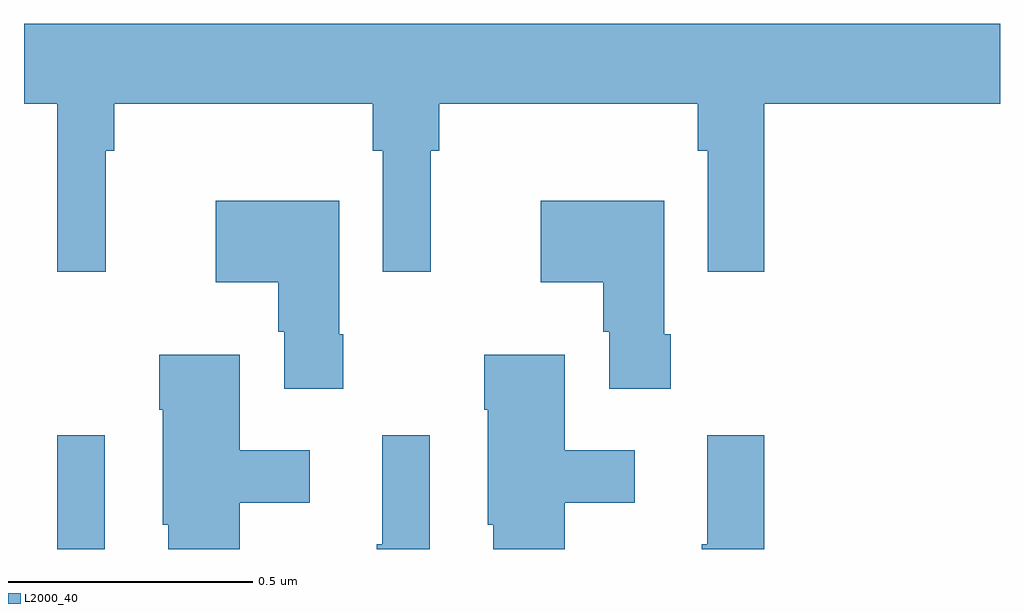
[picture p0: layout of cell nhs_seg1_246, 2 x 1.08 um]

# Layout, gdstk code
import gdstk
lib = gdstk.Library(unit=1e-6, precision=1e-09)
def R(c, l, rs):  # rectangles x0, y0, x1, y1
    for r in rs: c.add(gdstk.rectangle(r[:2], r[2:], *l))
def P(c, l, *ps):  # polygons
    for p in ps: c.add(gdstk.Polygon(p, *l))
L2000_40 = (2000, 40)

nhs_seg1_246 = lib.new_cell('nhs_seg1_246')
R(nhs_seg1_246, L2000_40, [(114.068,504.199,114.165,504.433)])
P(nhs_seg1_246, L2000_40, [(114.168,505.016),(114.185,505.016),(114.185,505.112),(114.715,505.112),(114.715,505.016),(114.735,505.016),(114.735,504.768),(114.834,504.768),(114.834,505.016),(114.851,505.016),(114.851,505.112),(115.381,505.112),(115.381,505.016),(115.401,505.016),(115.401,504.768),(115.517,504.768),(115.517,505.112),(116,505.112),(116,505.276),(114,505.276),(114,505.112),(114.068,505.112),(114.068,504.768),(114.168,504.768)],
  [(114.654,504.64),(114.646,504.64),(114.646,504.913),(114.393,504.913),(114.393,504.746),(114.521,504.746),(114.521,504.645),(114.533,504.645),(114.533,504.528),(114.654,504.528)],
  [(115.325,504.64),(115.312,504.64),(115.312,504.913),(115.059,504.913),(115.059,504.746),(115.187,504.746),(115.187,504.645),(115.199,504.645),(115.199,504.528),(115.325,504.528)],
  [(114.442,504.294),(114.586,504.294),(114.586,504.402),(114.442,504.402),(114.442,504.598),(114.277,504.598),(114.277,504.485),(114.284,504.485),(114.284,504.249),(114.296,504.249),(114.296,504.199),(114.442,504.199)],
  [(115.108,504.294),(115.252,504.294),(115.252,504.402),(115.108,504.402),(115.108,504.598),(114.943,504.598),(114.943,504.485),(114.95,504.485),(114.95,504.249),(114.962,504.249),(114.962,504.199),(115.108,504.199)],
  [(114.831,504.433),(114.734,504.433),(114.734,504.209),(114.723,504.209),(114.723,504.199),(114.831,504.199)],
  [(115.517,504.433),(115.4,504.433),(115.4,504.209),(115.389,504.209),(115.389,504.199),(115.517,504.199)])

lib.write_gds('nhs_seg1_246.gds')
